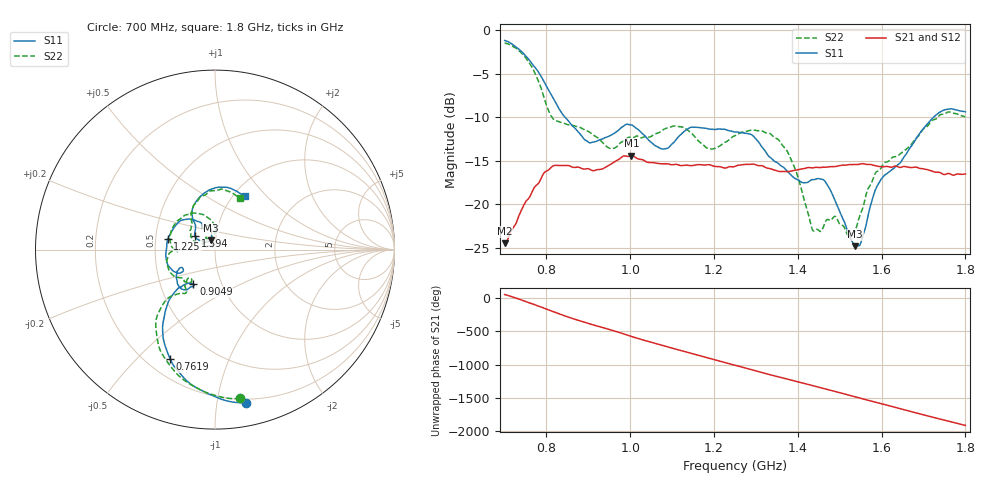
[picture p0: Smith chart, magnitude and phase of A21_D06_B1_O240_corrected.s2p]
! Created with skrf 1.9.0 (http://scikit-rf.org).
# Hz S RI R 50.0
!freq ReS11 ImS11 ReS21 ImS21 ReS12 ImS12 ReS22 ImS22
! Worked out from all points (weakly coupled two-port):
!   1601 points, 700 MHz to 1.8 GHz, reference 50 ohm
!   highest |S21| = -14.40 dB at 1.002 GHz (marker M1); lowest = -24.5 dB at 700 MHz (marker M2)
!   lowest |S11| = -24.8 dB at 1.537 GHz (marker M3), VSWR 1.12, Z = 47.4 + j4.95 ohm
!   |S11| at or under -10 dB: 844.3 MHz to 1.724 GHz (879.8 MHz wide, 68.5 % of centre)
!   |S22| runs from -23.6 to -1.5 dB; largest |S21 - S12| = 0.0035
!   S11 on the Smith chart (normalised r, x): 700 MHz: 0.17, -1.21; 761.9 MHz: 0.29, -0.63; 904.9 MHz: 0.73, -0.30; 1.225 GHz: 0.58, +0.08; 1.594 GHz: 0.79, +0.12; 1.8 GHz: 1.12, +0.76
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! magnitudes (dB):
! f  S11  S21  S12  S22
! 700 MHz  -1.2  -24.5  -24.2  -1.5
! 761.9 MHz  -3.6  -19.0  -18.9  -4.0
! 814.8 MHz  -7.7  -15.6  -15.7  -10.1
! 883.6 MHz  -12.1  -15.9  -15.8  -11.3
! 904.9 MHz  -12.9  -16.0  -16.0  -11.8
! 954.4 MHz  -12.1  -15.4  -15.4  -13.6
! 1.002 GHz  -10.9  -14.4  -14.5  -12.4
! 1.067 GHz  -13.5  -15.3  -15.3  -11.8
! 1.145 GHz  -11.2  -15.6  -15.6  -11.8
! 1.187 GHz  -11.4  -15.5  -15.5  -13.6
! 1.225 GHz  -11.4  -15.8  -15.8  -12.9
! 1.25 GHz  -11.7  -15.6  -15.6  -12.1
! 1.356 GHz  -15.4  -16.2  -16.2  -12.7
! 1.394 GHz  -17.1  -16.1  -16.1  -16.0
! 1.434 GHz  -17.2  -15.8  -15.8  -22.8
! 1.469 GHz  -17.6  -15.7  -15.7  -21.8
! 1.537 GHz  -24.8  -15.4  -15.4  -23.1
! 1.551 GHz  -24.3  -15.3  -15.4  -20.9
! 1.594 GHz  -17.5  -15.7  -15.6  -16.1
! 1.617 GHz  -16.3  -15.7  -15.7  -15.0
! 1.733 GHz  -9.6  -16.3  -16.3  -10.1
! 1.8 GHz  -9.4  -16.5  -16.5  -10.0
